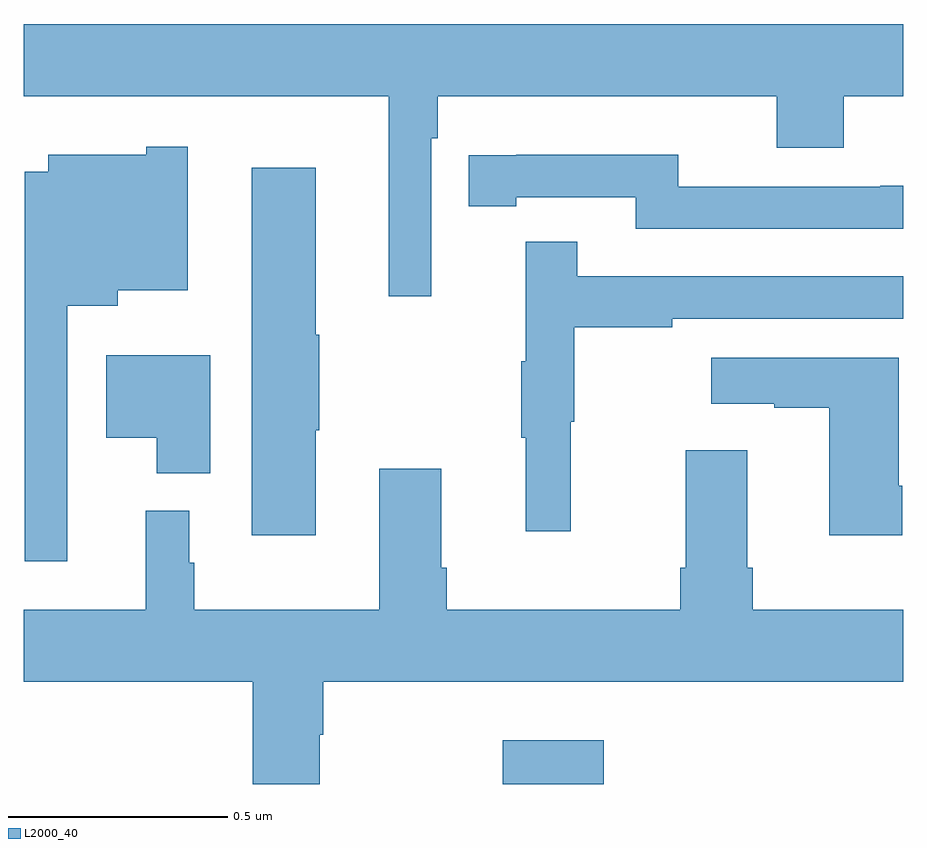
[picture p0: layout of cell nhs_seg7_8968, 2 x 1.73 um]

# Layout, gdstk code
import gdstk
lib = gdstk.Library(unit=1e-6, precision=1e-09)
def R(c, l, rs):  # rectangles x0, y0, x1, y1
    for r in rs: c.add(gdstk.rectangle(r[:2], r[2:], *l))
def P(c, l, *ps):  # polygons
    for p in ps: c.add(gdstk.Polygon(p, *l))
L2000_40 = (2000, 40)

nhs_seg7_8968 = lib.new_cell('nhs_seg7_8968')
R(nhs_seg7_8968, L2000_40, [(232.089,1051,232.319,1051.099)])
P(nhs_seg7_8968, L2000_40, [(231.927,1052.468),(231.941,1052.468),(231.941,1052.564),(232.712,1052.564),(232.712,1052.447),(232.865,1052.447),(232.865,1052.564),(233,1052.564),(233,1052.728),(231,1052.728),(231,1052.564),(231.83,1052.564),(231.83,1052.109),(231.927,1052.109)],
  [(231.099,1052.087),(231.214,1052.087),(231.214,1052.123),(231.373,1052.123),(231.373,1052.449),(231.279,1052.449),(231.279,1052.431),(231.056,1052.431),(231.056,1052.392),(231.002,1052.392),(231.002,1051.506),(231.099,1051.506)],
  [(233,1052.36),(232.948,1052.36),(232.948,1052.358),(232.488,1052.358),(232.488,1052.431),(232.12,1052.431),(232.12,1052.43),(232.012,1052.43),(232.012,1052.314),(232.12,1052.314),(232.12,1052.334),(232.392,1052.334),(232.392,1052.262),(233,1052.262)],
  [(231.664,1051.804),(231.672,1051.804),(231.672,1052.021),(231.664,1052.021),(231.664,1052.401),(231.518,1052.401),(231.518,1051.566),(231.664,1051.566)],
  [(232.244,1051.824),(232.252,1051.824),(232.252,1052.038),(232.475,1052.038),(232.475,1052.058),(233,1052.058),(233,1052.154),(232.259,1052.154),(232.259,1052.233),(232.142,1052.233),(232.142,1051.961),(232.131,1051.961),(232.131,1051.787),(232.142,1051.787),(232.142,1051.575),(232.244,1051.575)],
  [(231.424,1051.975),(231.188,1051.975),(231.188,1051.787),(231.302,1051.787),(231.302,1051.706),(231.424,1051.706)],
  [(232.998,1051.678),(232.99,1051.678),(232.99,1051.969),(232.563,1051.969),(232.563,1051.865),(232.706,1051.865),(232.706,1051.855),(232.832,1051.855),(232.832,1051.566),(232.998,1051.566)],
  [(231.673,1051.112),(231.681,1051.112),(231.681,1051.232),(233,1051.232),(233,1051.396),(232.658,1051.396),(232.658,1051.492),(232.645,1051.492),(232.645,1051.759),(232.505,1051.759),(232.505,1051.492),(232.493,1051.492),(232.493,1051.396),(231.962,1051.396),(231.962,1051.492),(231.949,1051.492),(231.949,1051.717),(231.809,1051.717),(231.809,1051.396),(231.388,1051.396),(231.388,1051.503),(231.376,1051.503),(231.376,1051.621),(231.278,1051.621),(231.278,1051.396),(231,1051.396),(231,1051.232),(231.521,1051.232),(231.521,1051),(231.673,1051)])

lib.write_gds('nhs_seg7_8968.gds')
